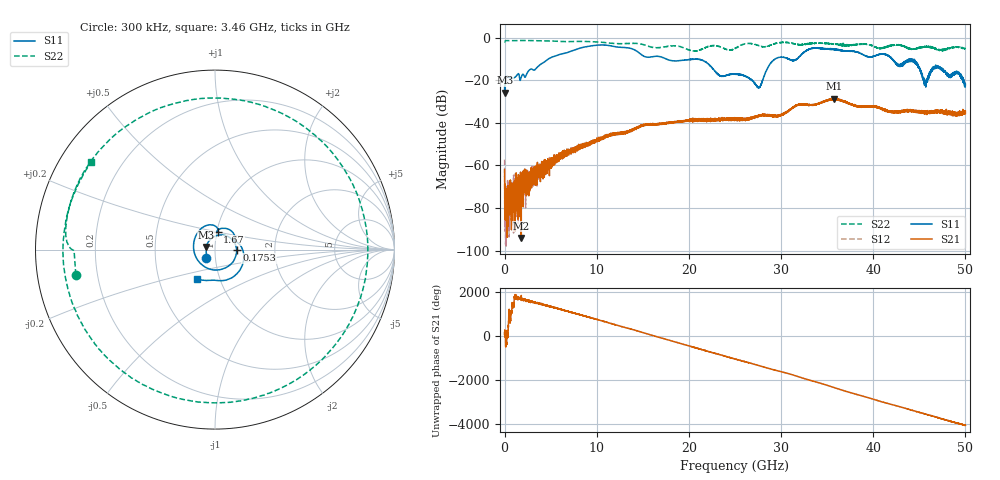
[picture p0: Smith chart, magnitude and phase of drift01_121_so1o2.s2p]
!Created with skrf (http://scikit-rf.org).
# Hz S RI R 50.0
!freq ReS11 ImS11 ReS21 ImS21 ReS12 ImS12 ReS22 ImS22
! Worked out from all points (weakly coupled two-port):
!   10001 points, 300 kHz to 50 GHz, reference 50 ohm
!   highest |S21| = -28.68 dB at 35.74 GHz (marker M1); lowest = -94.0 dB at 1.81 GHz (marker M2)
!   lowest |S11| = -25.8 dB at 5.3 MHz (marker M3), VSWR 1.11, Z = 45.3 + j1.4 ohm
!   |S11| at or under -10 dB: start of sweep to 4.767 GHz; 17.52 GHz to 29.38 GHz (11.86 GHz wide, 50.6 % of centre); 43.99 GHz to end of sweep (the widest 3 of 13)
!   |S22| runs from -6.4 to -1.4 dB; largest |S21 - S12| = 0.0034
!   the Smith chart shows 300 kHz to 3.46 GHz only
!   S11 on the Smith chart (normalised r, x): 300 kHz: 0.90, -0.09; 175.3 MHz: 1.27, -0.01; 1.67 GHz: 1.01, +0.20; 3.46 GHz: 0.78, -0.26
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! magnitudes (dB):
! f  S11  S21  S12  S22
! 300 kHz  -23.3  -62.0  -57.3  -2.1
! 5.3 MHz  -25.8  -71.5  -75.6  -2.1
! 175.3 MHz  -18.4  -71.9  -77.0  -1.4
! 310.3 MHz  -18.3  -74.9  -70.1  -1.4
! 1.67 GHz  -20.0  -64.9  -69.4  -1.4
! 1.81 GHz  -18.5  -94.0  -68.1  -1.4
! 3.46 GHz  -14.3  -65.6  -62.2  -1.5
! 8.335 GHz  -4.8  -50.6  -50.9  -1.8
! 16.67 GHz  -8.8  -40.7  -41.0  -4.8
! 21.22 GHz  -10.3  -38.9  -38.7  -5.7
! 25 GHz  -17.1  -38.4  -38.2  -5.1
! 27.59 GHz  -23.5  -36.7  -36.6  -3.8
! 29.28 GHz  -10.3  -36.7  -36.8  -2.9
! 31.47 GHz  -10.7  -32.4  -32.2  -2.9
! 33.34 GHz  -5.1  -31.6  -31.7  -2.7
! 35.74 GHz  -5.4  -28.7  -28.9  -3.0
! 41.67 GHz  -8.6  -34.7  -34.7  -4.0
! 42.74 GHz  -13.2  -35.2  -34.7  -3.4
! 44.47 GHz  -11.5  -34.9  -34.6  -5.4
! 45.64 GHz  -20.5  -35.0  -34.9  -4.3
! 46.96 GHz  -13.4  -34.5  -34.9  -5.5
! 50 GHz  -21.9  -34.7  -35.8  -5.3
